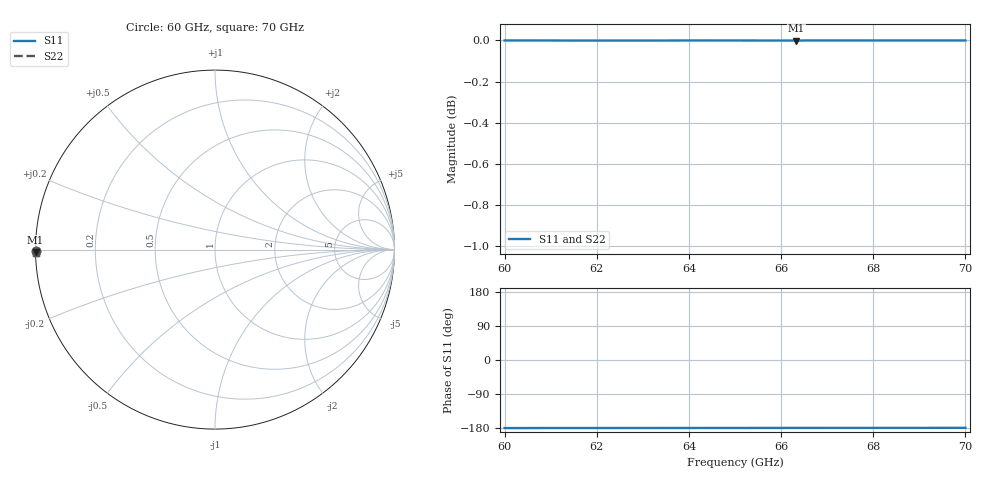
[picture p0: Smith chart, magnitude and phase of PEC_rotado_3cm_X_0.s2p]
! TOUCHSTONE file generated by CST MICROWAVE STUDIO
! Date and time: Sat Feb 17 15:53:01 2024
! Project name: metal_rotado.cst
! Parameters = {PX=0; angX=2; angY=2}
! Header version: 2018
! Port assignment regex: !\s*Touchstone port\s*([0-9]+)\s*=\s*(CST MWS port|CST DS port)\s*([0-9]+|Zmin|Zmax)\s*\(\"(.*)\"\)(\s*mode\s*([0-9]+))?.*
! Touchstone port assignment:
! Touchstone port 1 = CST MWS port 1 ("")
! Touchstone port 2 = CST MWS port 2 ("")
# GHz S MA R 376.7
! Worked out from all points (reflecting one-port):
!   1001 points, 60 GHz to 70 GHz, reference 376.7 ohm
!   lowest |S11| = 0.0 dB at 66.33 GHz (marker M1)
!   phase of S11 starts at -180 deg and turns +1 deg over the sweep
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60  1 -179.6  3.999e-66 180.0  3.999e-66 180.0  1 -179.6
60.9  1 -179.6  2.999e-66 180.0  2.999e-66 180.0  1 -179.6
61.02  1 -179.6  2.999e-66 180.0  2.999e-66 180.0  1 -179.6
61.19  1 -179.6  2.999e-66 180.0  2.999e-66 180.0  1 -179.6
61.26  1 -179.6  2.999e-66 180.0  2.999e-66 180.0  1 -179.6
61.35  1 -179.6  2.999e-66 180.0  2.999e-66 180.0  1 -179.6
61.67  1 -179.6  2.999e-66 180.0  2.999e-66 180.0  1 -179.6
62.14  0.9999 -179.6  2e-66 180.0  2e-66 180.0  1 -179.6
62.53  0.9999 -179.5  2e-66 180.0  2e-66 180.0  1 -179.5
63.34  1 -179.5  9.998e-67 180.0  9.998e-67 180.0  1 -179.5
64.03  1 -179.4  9.998e-67 180.0  9.998e-67 180.0  1 -179.4
65  1 -179.3  0 0.0  0 0.0  0.9998 -179.3
66.23  1 -179.2  9.998e-67 -0.0  9.998e-67 -0.0  1 -179.1
66.33  0.9998 -179.2  9.998e-67 -0.0  9.998e-67 -0.0  1 -179.1
66.43  0.9999 -179.2  9.998e-67 -0.0  9.998e-67 -0.0  1 -179.1
66.67  1 -179.1  9.998e-67 -0.0  9.998e-67 -0.0  1 -179.1
67.12  1 -179.1  2e-66 -0.0  2e-66 -0.0  1 -179.1
67.54  1 -179.1  2e-66 -0.0  2e-66 -0.0  1 -179.0
67.93  1 -179.1  2e-66 -0.0  2e-66 -0.0  1 -179.0
68.34  1 -179.0  2e-66 -0.0  2e-66 -0.0  1 -179.0
69.03  1 -179.0  2.999e-66 -0.0  2.999e-66 -0.0  1 -179.0
70  1 -179.1  0 0.0  0 0.0  1 -179.1
